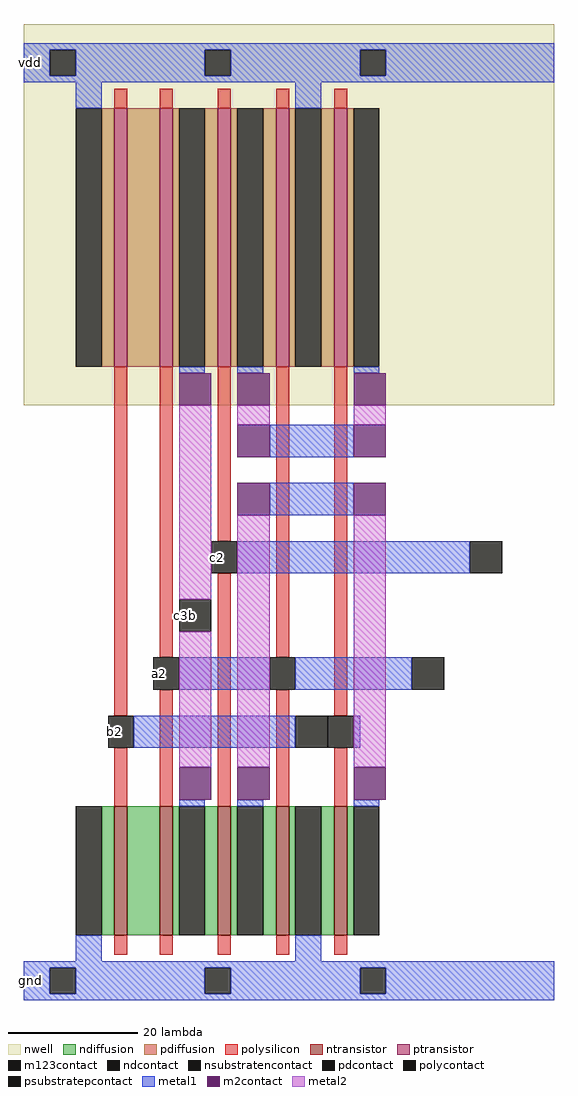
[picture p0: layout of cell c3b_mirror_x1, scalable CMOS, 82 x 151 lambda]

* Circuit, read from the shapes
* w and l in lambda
.subckt c3b_mirror_x1 a2 b2 c2 c3b vdd gnd
M1 n1 b2 gnd gnd nfet w=20 l=2
M2 c3b a2 n1 gnd nfet w=20 l=2
M3 n2 c2 c3b gnd nfet w=20 l=2
M4 gnd a2 n2 gnd nfet w=20 l=2
M5 n2 b2 gnd gnd nfet w=20 l=2
M6 n3 b2 vdd vdd pfet w=40 l=2
M7 c3b a2 n3 vdd pfet w=40 l=2
M8 n4 c2 c3b vdd pfet w=40 l=2
M9 vdd a2 n4 vdd pfet w=40 l=2
M10 n4 b2 vdd vdd pfet w=40 l=2
.ends

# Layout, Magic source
magic
tech scmos
<< nwell >>
rect 0 92 82 151
<< ntransistor >>
rect 14 10 16 30
rect 21 10 23 30
rect 30 10 32 30
rect 39 10 41 30
rect 48 10 50 30
<< ptransistor >>
rect 14 98 16 138
rect 21 98 23 138
rect 30 98 32 138
rect 39 98 41 138
rect 48 98 50 138
<< ndiffusion >>
rect 12 10 14 30
rect 16 10 21 30
rect 23 10 24 30
rect 28 10 30 30
rect 32 10 33 30
rect 37 10 39 30
rect 41 10 42 30
rect 46 10 48 30
rect 50 10 51 30
<< pdiffusion >>
rect 12 98 14 138
rect 16 98 21 138
rect 23 98 24 138
rect 28 98 30 138
rect 32 98 33 138
rect 37 98 39 138
rect 41 98 42 138
rect 46 98 48 138
rect 50 98 51 138
<< ndcontact >>
rect 8 10 12 30
rect 24 10 28 30
rect 33 10 37 30
rect 42 10 46 30
rect 51 10 55 30
<< pdcontact >>
rect 8 98 12 138
rect 24 98 28 138
rect 33 98 37 138
rect 42 98 46 138
rect 51 98 55 138
<< psubstratepcontact >>
rect 4 1 8 5
rect 28 1 32 5
rect 52 1 56 5
<< nsubstratencontact >>
rect 4 143 8 147
rect 28 143 32 147
rect 52 143 56 147
<< polysilicon >>
rect 14 138 16 141
rect 21 138 23 141
rect 30 138 32 141
rect 39 138 41 141
rect 48 138 50 141
rect 14 44 16 98
rect 21 53 23 98
rect 30 71 32 98
rect 14 30 16 39
rect 21 30 23 48
rect 30 30 32 66
rect 39 53 41 98
rect 39 30 41 48
rect 48 44 50 98
rect 48 30 50 39
rect 14 7 16 10
rect 21 7 23 10
rect 30 7 32 10
rect 39 7 41 10
rect 48 7 50 10
<< polycontact >>
rect 29 66 33 71
rect 20 48 24 53
rect 13 39 17 44
rect 38 48 42 53
rect 47 39 51 44
<< metal1 >>
rect 0 147 82 148
rect 0 143 4 147
rect 8 143 28 147
rect 32 143 52 147
rect 56 143 82 147
rect 0 142 82 143
rect 8 138 12 142
rect 42 138 46 142
rect 24 97 28 98
rect 33 97 37 98
rect 51 97 55 98
rect 38 84 51 89
rect 38 75 51 80
rect 33 66 69 71
rect 24 48 38 53
rect 42 48 60 53
rect 17 39 42 44
rect 51 39 52 44
rect 24 30 28 31
rect 33 30 37 31
rect 51 30 55 31
rect 8 6 12 10
rect 42 6 46 10
rect 0 5 82 6
rect 0 1 4 5
rect 8 1 28 5
rect 32 1 52 5
rect 56 1 82 5
rect 0 0 82 1
<< m2contact >>
rect 24 92 29 97
rect 33 92 38 97
rect 51 92 56 97
rect 33 84 38 89
rect 51 84 56 89
rect 33 75 38 80
rect 51 75 56 80
rect 24 31 29 36
rect 33 31 38 36
rect 51 31 56 36
<< metal2 >>
rect 24 62 29 92
rect 33 89 38 92
rect 51 89 56 92
rect 24 36 29 57
rect 33 36 38 75
rect 51 36 56 75
<< m123contact >>
rect 24 57 29 62
rect 42 39 47 44
rect 69 66 74 71
rect 60 48 65 53
<< labels >>
rlabel metal1 20 48 22 53 0 a2
port 1 nsew
rlabel metal1 13 39 15 44 0 b2
port 2 nsew
rlabel metal1 29 66 31 71 0 c2
port 3 nsew
rlabel metal1 24 57 26 62 0 c3b
port 4 nsew
rlabel metal1 0 142 2 148 0 vdd
port 5 nsew
rlabel metal1 0 0 2 6 0 gnd
port 6 nsew
<< end >>
